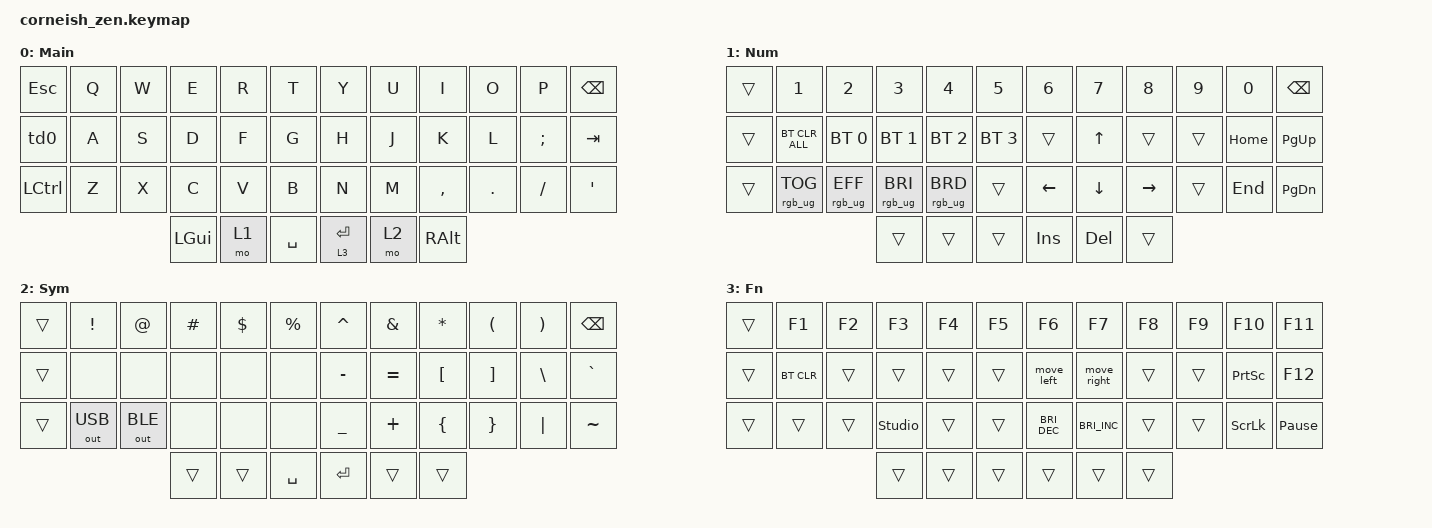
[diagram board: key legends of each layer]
/*
 * Copyright (c) 2020 The ZMK Contributors
 *
 * SPDX-License-Identifier: MIT
 */

#include <behaviors.dtsi>
#include <dt-bindings/zmk/bt.h>
#include <dt-bindings/zmk/keys.h>
#include <dt-bindings/zmk/outputs.h>
#include <dt-bindings/zmk/rgb.h>

/ {
    chosen { zmk,physical_layout = &corneish_zen_layout; };
};

/ {
    behaviors {
        td0: td0 {
            compatible = "zmk,behavior-tap-dance";
            label = "TD0";
            #binding-cells = <0>;
            bindings = <&kp LEFT_SHIFT>, <&kp CAPS>;
        };

        move_left: move_left {
            compatible = "zmk,behavior-macro";
            label = "MOVE_LEFT";
            #binding-cells = <0>;
            bindings =
                <&macro_press>,
                <&kp LCTRL>,
                <&macro_press>,
                <&kp LEFT>,
                <&macro_release>,
                <&kp LEFT>,
                <&macro_release>,
                <&kp LCTRL>;
        };

        move_right: move_right {
            compatible = "zmk,behavior-macro";
            label = "MOVE_RIGHT";
            #binding-cells = <0>;
            bindings =
                <&macro_press>,
                <&kp LCTRL>,
                <&macro_press>,
                <&kp RIGHT>,
                <&macro_release>,
                <&kp RIGHT>,
                <&macro_release>,
                <&kp LCTRL>;
        };
    };

    macros {
    };

    keymap {
        compatible = "zmk,keymap";

        default_layer {
            display-name = "Main";

            // --------------------------------------------------------------------------------
            // |  TAB |  Q  |  W  |  E  |  R  |  T  |   |  Y  |  U   |  I  |  O  |  P  | BKSP |
            // | CTRL |  A  |  S  |  D  |  F  |  G  |   |  H  |  J   |  K  |  L  |  ;  |  '   | 
            // | SHFT |  Z  |  X  |  C  |  V  |  B  |   |  N  |  M   |  ,  |  .  |  /  | ESC  |
            //                    | GUI | LWR | SPC |   | ENT | RSE  | ALT |

            bindings = <
&kp ESC    &kp Q  &kp W  &kp E     &kp R  &kp T        &kp Y        &kp U  &kp I      &kp O    &kp P     &kp BSPC
&td0       &kp A  &kp S  &kp D     &kp F  &kp G        &kp H        &kp J  &kp K      &kp L    &kp SEMI  &kp TAB
&kp LCTRL  &kp Z  &kp X  &kp C     &kp V  &kp B        &kp N        &kp M  &kp COMMA  &kp DOT  &kp FSLH  &kp APOSTROPHE
                         &kp LGUI  &mo 1  &kp SPACE    &lt 3 ENTER  &mo 2  &kp RALT
            >;
        };

        lower_layer {
            display-name = "Num";

            // -----------------------------------------------------------------------------------------
            // |  TAB |  1  |  2  |  3  |  4  |  5  |   |  6  |  7  |  8  |  9  |  0  | BKSP |
            // | BTCLR| BT1 | BT2 | BT3 | BT4 | BT5 |   | LFT | DWN |  UP | RGT |     |      |
            // | SHFT |     |     |     |     |     |   |     |     |     |     |     |      |
            //                    | GUI |     | SPC |   | ENT |     | ALT |

            bindings = <
&trans  &kp N1           &kp N2           &kp N3           &kp N4           &kp N5          &kp N6          &kp N7          &kp N8           &kp N9  &kp N0    &kp BSPC
&trans  &bt BT_CLR_ALL   &bt BT_SEL 0     &bt BT_SEL 1     &bt BT_SEL 2     &bt BT_SEL 3    &trans          &kp UP_ARROW    &trans           &trans  &kp HOME  &kp PG_UP
&trans  &rgb_ug RGB_TOG  &rgb_ug RGB_EFF  &rgb_ug RGB_BRI  &rgb_ug RGB_BRD  &trans          &kp LEFT_ARROW  &kp DOWN_ARROW  &kp RIGHT_ARROW  &trans  &kp END   &kp PG_DN
                                          &trans           &trans           &trans          &kp INS         &kp DEL         &trans
            >;
        };

        raise_layer {
            display-name = "Sym";

            // -----------------------------------------------------------------------------------------
            // |  TAB |  !  |  @  |  #  |  $  |  %  |   |  ^  |  &  |  *  |  (  |  )  | BKSP |
            // | CTRL |     |     |     |     |     |   |  -  |  =  |  [  |  ]  |  \  |  `   |
            // | SHFT |     |     |     |     |     |   |  _  |  +  |  {  |  }  | "|" |  ~   |
            //                    | GUI |     | SPC |   | ENT |     | ALT |

            bindings = <
&trans  &kp EXCL      &kp AT        &kp HASH  &kp DLLR  &kp PRCNT    &kp CARET  &kp AMPS   &kp ASTRK  &kp LPAR  &kp RPAR  &kp BSPC
&trans  &none         &none         &none     &none     &none        &kp MINUS  &kp EQUAL  &kp LBKT   &kp RBKT  &kp BSLH  &kp GRAVE
&trans  &out OUT_USB  &out OUT_BLE  &none     &none     &none        &kp UNDER  &kp PLUS   &kp LBRC   &kp RBRC  &kp PIPE  &kp TILDE
                                    &trans    &trans    &kp SPACE    &kp RET    &trans     &trans
            >;
        };

        layer_3 {
            display-name = "Fn";
            bindings = <
&trans  &kp F1      &kp F2  &kp F3          &kp F4  &kp F5    &kp F6                &kp F7                &kp F8  &kp F9  &kp F10          &kp F11
&trans  &bt BT_CLR  &trans  &trans          &trans  &trans    &move_left            &move_right           &trans  &trans  &kp PRINTSCREEN  &kp F12
&trans  &trans      &trans  &studio_unlock  &trans  &trans    &kp C_BRIGHTNESS_DEC  &kp C_BRIGHTNESS_INC  &trans  &trans  &kp SCROLLLOCK   &kp PAUSE_BREAK
                            &trans          &trans  &trans    &trans                &trans                &trans
            >;
        };
    };
};
